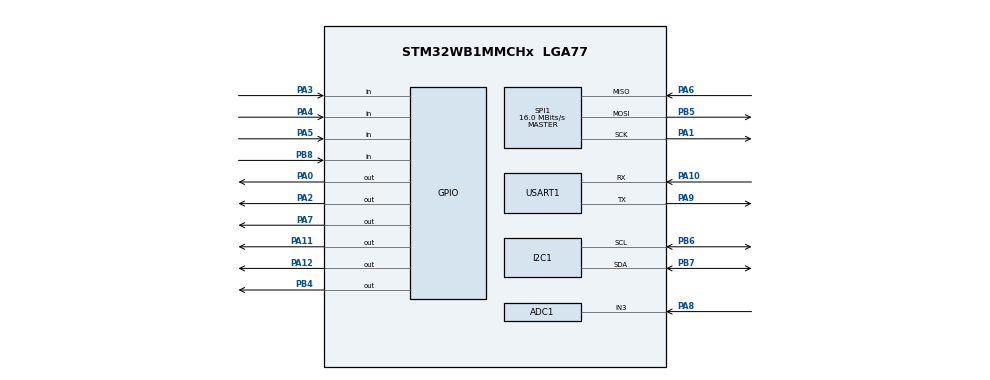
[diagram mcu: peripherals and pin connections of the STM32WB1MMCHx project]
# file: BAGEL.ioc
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ADC1.Channel-0\#ChannelRegularConversion=ADC_CHANNEL_3
ADC1.NbrOfConversionFlag=1
ADC1.Rank-0\#ChannelRegularConversion=1
ADC1.SamplingTime-0\#ChannelRegularConversion=ADC_SAMPLINGTIME_COMMON_1
ADC1.SamplingTimeCommon1=ADC_SAMPLETIME_12CYCLES_5
ADC1.SamplingTimeCommon2=ADC_SAMPLETIME_12CYCLES_5
ADC1.SelectedChannel=ADC_CHANNEL_3
ADC1.master=1
I2C1.Timing=0x00B07CB4
Mcu.Family=STM32WB
Mcu.Name=STM32WB1MMCHx
Mcu.Package=LGA77
NVIC.HSEM_IRQn=true\:0\:0\:false\:false\:true\:false\:true\:true
NVIC.IPCC_C1_RX_IRQn=true\:0\:0\:false\:false\:true\:true\:true\:true
NVIC.IPCC_C1_TX_IRQn=true\:0\:0\:false\:false\:true\:true\:true\:true
NVIC.PriorityGroup=NVIC_PRIORITYGROUP_4
NVIC.RTC_WKUP_IRQn=true\:0\:0\:false\:false\:true\:true\:true\:true
PA0.Signal=GPIO_Output
PA1.Mode=Full_Duplex_Master
PA1.Signal=SPI1_SCK
PA10.Mode=Asynchronous
PA10.Signal=USART1_RX
PA11.Signal=GPIO_Output
PA12.Signal=GPIO_Output
PA13.Mode=Serial_Wire
PA13.Signal=SYS_JTMS-SWDIO
PA14.Mode=Serial_Wire
PA14.Signal=SYS_JTCK-SWCLK
PA2.Signal=GPIO_Output
PA3.Signal=GPIO_Input
PA4.Signal=GPIO_Input
PA5.Signal=GPIO_Input
PA6.Mode=Full_Duplex_Master
PA6.Signal=SPI1_MISO
PA7.Signal=GPIO_Output
PA8.Signal=ADCx_IN3
PA9.Mode=Asynchronous
PA9.Signal=USART1_TX
PB4.Signal=GPIO_Output
PB5.Mode=Full_Duplex_Master
PB5.Signal=SPI1_MOSI
PB6.Mode=I2C
PB6.Signal=I2C1_SCL
PB7.Mode=I2C
PB7.Signal=I2C1_SDA
PB8.Signal=GPIO_Input
ProjectManager.HeapSize=0x200
ProjectManager.StackSize=0x400
ProjectManager.TargetToolchain=CMake
RCC.AHBFreq_Value=32000000
RCC.APB1Freq_Value=32000000
RCC.APB1TimFreq_Value=32000000
RCC.APB2Freq_Value=32000000
RCC.APB2TimFreq_Value=32000000
RCC.APB3Freq_Value=16000000
RCC.CortexFreq_Value=32000000
RCC.HCLKFreq_Value=32000000
RCC.HSE_VALUE=32000000
RCC.HSI_VALUE=16000000
RCC.MSIClockRange=RCC_MSIRANGE_10
RCC.SYSCLKFreq_VALUE=32000000
RCC.VCOOutputFreq_Value=256000000
SH.ADCx_IN3.0=ADC1_IN3,IN3-Single-Ended
SPI1.CalculateBaudRate=16.0 MBits/s
SPI1.Direction=SPI_DIRECTION_2LINES
SPI1.Mode=SPI_MODE_MASTER
SPI1.VirtualType=VM_MASTER
STM32_WPAN.AD_TYPE_COMPLETE_LOCAL_NAME=BAGEL
STM32_WPAN.AD_TYPE_COMPLETE_LOCAL_NAME_LENGTH=6
STM32_WPAN.CFG_BLE_OPTIONS_GATT_CACHING=SHCI_C2_BLE_INIT_OPTIONS_GATT_CACHING_USED
STM32_WPAN.CFG_LSCLK_LSE=0
STM32_WPAN.CUSTOM_P2P_SERVER=Disabled
STM32_WPAN.CUSTOM_TEMPLATE=Enabled
STM32_WPAN.GAP_PERIPHERAL_ROLE=1
STM32_WPAN.INCLUDE_AD_TYPE_COMPLETE_LOCAL_NAME=1
STM32_WPAN.NUMBER_OF_SERVICES=2
STM32_WPAN.PAIRING_PARAMETERS=OFF
STM32_WPAN.SERVICE1_CHAR1_GATT_NOTIFY_READ_REQ_AND_WAIT_FOR_APPL_RESP=\ 
STM32_WPAN.SERVICE1_CHAR1_GATT_NOTIFY_WRITE_REQ_AND_WAIT_FOR_APPL_RESP=\ 
STM32_WPAN.SERVICE1_CHAR1_LONG_NAME=SWITCH_4
STM32_WPAN.SERVICE1_CHAR1_PROP_NOTIFY=CHAR_PROP_NOTIFY
STM32_WPAN.SERVICE1_CHAR1_PROP_READ=CHAR_PROP_READ
STM32_WPAN.SERVICE1_CHAR1_PROP_WRITE=CHAR_PROP_WRITE
STM32_WPAN.SERVICE1_CHAR1_SHORT_NAME=SWITCH_4
STM32_WPAN.SERVICE1_CHAR1_UUID=98 71 87 AB D9 37 FE 72 83 74 02 09 27 16 78 27
STM32_WPAN.SERVICE1_CHAR1_UUID_128_INPUT_TYPE=1
STM32_WPAN.SERVICE1_CHAR2_GATT_NOTIFY_READ_REQ_AND_WAIT_FOR_APPL_RESP=\ 
STM32_WPAN.SERVICE1_CHAR2_GATT_NOTIFY_WRITE_REQ_AND_WAIT_FOR_APPL_RESP=\ 
STM32_WPAN.SERVICE1_CHAR2_LONG_NAME=SWITCH_5
STM32_WPAN.SERVICE1_CHAR2_PROP_NOTIFY=CHAR_PROP_NOTIFY
STM32_WPAN.SERVICE1_CHAR2_PROP_READ=CHAR_PROP_READ
STM32_WPAN.SERVICE1_CHAR2_PROP_WRITE=CHAR_PROP_WRITE
STM32_WPAN.SERVICE1_CHAR2_SHORT_NAME=SWITCH_5
STM32_WPAN.SERVICE1_CHAR2_UUID=67 37 44 98 92 48 92 49 82 49 83 48 93 48 3B CD
STM32_WPAN.SERVICE1_CHAR2_UUID_128_INPUT_TYPE=1
STM32_WPAN.SERVICE1_CHAR3_GATT_NOTIFY_READ_REQ_AND_WAIT_FOR_APPL_RESP=\ 
STM32_WPAN.SERVICE1_CHAR3_GATT_NOTIFY_WRITE_REQ_AND_WAIT_FOR_APPL_RESP=\ 
STM32_WPAN.SERVICE1_CHAR3_LONG_NAME=SWITCH_6
STM32_WPAN.SERVICE1_CHAR3_PROP_NOTIFY=CHAR_PROP_NOTIFY
STM32_WPAN.SERVICE1_CHAR3_PROP_READ=CHAR_PROP_READ
STM32_WPAN.SERVICE1_CHAR3_PROP_WRITE=CHAR_PROP_WRITE
STM32_WPAN.SERVICE1_CHAR3_SHORT_NAME=SWITCH_6
STM32_WPAN.SERVICE1_CHAR3_UUID=97 19 81 88 92 89 2B CD 98 F9 8E 98 98 E7 12 31
STM32_WPAN.SERVICE1_CHAR3_UUID_128_INPUT_TYPE=1
STM32_WPAN.SERVICE1_LONG_NAME=BAGEL_2
STM32_WPAN.SERVICE1_NUMBER_OF_CHARACTERISTICS=3
STM32_WPAN.SERVICE1_SHORT_NAME=BAGEL_2
STM32_WPAN.SERVICE1_UUID=73 73 73 73 73 71 91 92 10 95 09 12 89 27 26 6B
STM32_WPAN.SERVICE1_UUID_128_INPUT_TYPE=1
STM32_WPAN.SERVICE2_CHAR1_GATT_NOTIFY_READ_REQ_AND_WAIT_FOR_APPL_RESP=\ 
STM32_WPAN.SERVICE2_CHAR1_GATT_NOTIFY_WRITE_REQ_AND_WAIT_FOR_APPL_RESP=\ 
STM32_WPAN.SERVICE2_CHAR1_LENGTH_CHARACTERISTIC=CHAR_VALUE_LEN_CONSTANT
STM32_WPAN.SERVICE2_CHAR1_LONG_NAME=Switch_1
STM32_WPAN.SERVICE2_CHAR1_PROP_NOTIFY=CHAR_PROP_NOTIFY
STM32_WPAN.SERVICE2_CHAR1_PROP_READ=CHAR_PROP_READ
STM32_WPAN.SERVICE2_CHAR1_PROP_WRITE=CHAR_PROP_WRITE
STM32_WPAN.SERVICE2_CHAR1_SHORT_NAME=Switch_1
STM32_WPAN.SERVICE2_CHAR1_UUID=1A B8 34 56 76 53 73 84 27 37 48 48 38 48 38 48
STM32_WPAN.SERVICE2_CHAR1_UUID_128_INPUT_TYPE=1
STM32_WPAN.SERVICE2_CHAR2_GATT_NOTIFY_READ_REQ_AND_WAIT_FOR_APPL_RESP=\ 
STM32_WPAN.SERVICE2_CHAR2_GATT_NOTIFY_WRITE_REQ_AND_WAIT_FOR_APPL_RESP=\ 
STM32_WPAN.SERVICE2_CHAR2_LONG_NAME=Switch_2
STM32_WPAN.SERVICE2_CHAR2_PROP_NOTIFY=CHAR_PROP_NOTIFY
STM32_WPAN.SERVICE2_CHAR2_PROP_READ=CHAR_PROP_READ
STM32_WPAN.SERVICE2_CHAR2_PROP_WRITE=CHAR_PROP_WRITE
STM32_WPAN.SERVICE2_CHAR2_SHORT_NAME=Switch_2
STM32_WPAN.SERVICE2_CHAR2_UUID=63 77 77 AB C7 38 7D E7 28 98 27 37 38 83 88 38
STM32_WPAN.SERVICE2_CHAR2_UUID_128_INPUT_TYPE=1
STM32_WPAN.SERVICE2_CHAR3_GATT_NOTIFY_READ_REQ_AND_WAIT_FOR_APPL_RESP=\ 
STM32_WPAN.SERVICE2_CHAR3_GATT_NOTIFY_WRITE_REQ_AND_WAIT_FOR_APPL_RESP=\ 
STM32_WPAN.SERVICE2_CHAR3_LONG_NAME=Switch_3
STM32_WPAN.SERVICE2_CHAR3_PROP_NOTIFY=CHAR_PROP_NOTIFY
STM32_WPAN.SERVICE2_CHAR3_PROP_READ=CHAR_PROP_READ
STM32_WPAN.SERVICE2_CHAR3_PROP_WRITE=CHAR_PROP_WRITE
STM32_WPAN.SERVICE2_CHAR3_SHORT_NAME=Switch_3
STM32_WPAN.SERVICE2_CHAR3_UUID=72 67 18 34 82 82 03 08 23 83 83 8B CD E2 90 92
STM32_WPAN.SERVICE2_CHAR3_UUID_128_INPUT_TYPE=1
STM32_WPAN.SERVICE2_CHAR4_GATT_NOTIFY_READ_REQ_AND_WAIT_FOR_APPL_RESP=\ 
STM32_WPAN.SERVICE2_CHAR4_GATT_NOTIFY_WRITE_REQ_AND_WAIT_FOR_APPL_RESP=\ 
STM32_WPAN.SERVICE2_CHAR4_LONG_NAME=BATTERY_VOLTAGE
STM32_WPAN.SERVICE2_CHAR4_PROP_NOTIFY=CHAR_PROP_NOTIFY
STM32_WPAN.SERVICE2_CHAR4_PROP_READ=CHAR_PROP_READ
STM32_WPAN.SERVICE2_CHAR4_SHORT_NAME=BATTERY_VOLTAGE
STM32_WPAN.SERVICE2_CHAR4_UUID=10 20 92 09 12 49 81 24 71 27 91 29 81 29 81 29
STM32_WPAN.SERVICE2_CHAR4_UUID_128_INPUT_TYPE=1
STM32_WPAN.SERVICE2_LONG_NAME=BAGEL_1
STM32_WPAN.SERVICE2_NUMBER_OF_CHARACTERISTICS=4
STM32_WPAN.SERVICE2_SHORT_NAME=BAGEL_1
STM32_WPAN.SERVICE2_UUID=72 73 78 10 82 72 98 12 98 98 98 BC DE F9 81 98
STM32_WPAN.SERVICE2_UUID_128_INPUT_TYPE=1
STM32_WPAN.SERVICE3_CHAR1_GATT_NOTIFY_READ_REQ_AND_WAIT_FOR_APPL_RESP=\ 
STM32_WPAN.SERVICE3_CHAR1_GATT_NOTIFY_WRITE_REQ_AND_WAIT_FOR_APPL_RESP=\ 
STM32_WPAN.SERVICE3_CHAR1_LONG_NAME=SWITCH_4
STM32_WPAN.SERVICE3_CHAR1_PROP_NOTIFY=CHAR_PROP_NOTIFY
STM32_WPAN.SERVICE3_CHAR1_PROP_READ=CHAR_PROP_READ
STM32_WPAN.SERVICE3_CHAR1_PROP_WRITE=CHAR_PROP_WRITE
STM32_WPAN.SERVICE3_CHAR1_SHORT_NAME=SWITCH_4
STM32_WPAN.SERVICE3_CHAR1_UUID=64 18 92 98 78 46 54 7F ED 91 98 28 7B CD AB 48
STM32_WPAN.SERVICE3_CHAR1_UUID_128_INPUT_TYPE=1
STM32_WPAN.SERVICE3_CHAR2_GATT_NOTIFY_READ_REQ_AND_WAIT_FOR_APPL_RESP=\ 
STM32_WPAN.SERVICE3_CHAR2_GATT_NOTIFY_WRITE_REQ_AND_WAIT_FOR_APPL_RESP=\ 
STM32_WPAN.SERVICE3_CHAR2_LONG_NAME=SWITCH_5
STM32_WPAN.SERVICE3_CHAR2_PROP_NOTIFY=CHAR_PROP_NOTIFY
STM32_WPAN.SERVICE3_CHAR2_PROP_READ=CHAR_PROP_READ
STM32_WPAN.SERVICE3_CHAR2_PROP_WRITE=CHAR_PROP_WRITE
STM32_WPAN.SERVICE3_CHAR2_SHORT_NAME=SWITCH_5
STM32_WPAN.SERVICE3_CHAR2_UUID=98 34 98 98 98 98 BC EF 98 E9 8D 98 F9 87 82 12
STM32_WPAN.SERVICE3_CHAR2_UUID_128_INPUT_TYPE=1
STM32_WPAN.SERVICE3_CHAR3_GATT_NOTIFY_READ_REQ_AND_WAIT_FOR_APPL_RESP=\ 
STM32_WPAN.SERVICE3_CHAR3_GATT_NOTIFY_WRITE_REQ_AND_WAIT_FOR_APPL_RESP=\ 
STM32_WPAN.SERVICE3_CHAR3_LONG_NAME=SWITCH_6
STM32_WPAN.SERVICE3_CHAR3_PROP_NOTIFY=CHAR_PROP_NOTIFY
STM32_WPAN.SERVICE3_CHAR3_PROP_READ=CHAR_PROP_READ
STM32_WPAN.SERVICE3_CHAR3_PROP_WRITE=CHAR_PROP_WRITE
STM32_WPAN.SERVICE3_CHAR3_SHORT_NAME=SWITCH_6
STM32_WPAN.SERVICE3_CHAR3_UUID=73 77 97 8B CE 8F 98 D9 8A 98 B9 82 97 83 89 29
STM32_WPAN.SERVICE3_CHAR3_UUID_128_INPUT_TYPE=1
STM32_WPAN.SERVICE3_LONG_NAME=BAGEL_2
STM32_WPAN.SERVICE3_NUMBER_OF_CHARACTERISTICS=3
STM32_WPAN.SERVICE3_SHORT_NAME=BAGEL_2
STM32_WPAN.SERVICE3_UUID=12 34 56 78 73 23 48 29 44 28 92 24 89 24 78 24
USART1.VirtualMode-Asynchronous=VM_ASYNC
VP_HSEM_VS_HSEM.Mode=HSEM_Activate
VP_IPCC_VS_IPCC.Mode=IPCC_Activate
VP_MEMORYMAP_VS_MEMORYMAP.Mode=CurAppReg
VP_RCC_V_OSC32_IN.Mode=LSE-External-Clock-Source
VP_RCC_V_OSC_IN.Mode=HSE-External-Clock-Source
VP_RF_VS_RF.Mode=RF_Activate
VP_RTC_VS_RTC_Activate.Mode=RTC_Enabled
VP_RTC_VS_RTC_WakeUp_intern.Mode=WakeUp
VP_SEQUENCER_VS_SEQUENCER.Mode=SEQUENCER_Enabled
VP_STM32_WPAN_VS_BLE_HOST.Mode=STM32_WPAN_Enabled
VP_TINY_LPM_VS_TINY_LPM.Mode=TINY_LPM_Enabled
board=custom

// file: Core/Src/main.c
//No longer functional Main, go to Main.ccp for the functional main code.

/* USER CODE BEGIN Header */
/**
  ******************************************************************************
  * @file           : main.c
  * @brief          : Main program body
  ******************************************************************************
  * @attention
  *
  * Copyright (c) 2026 STMicroelectronics.
  * All rights reserved.
  *
  * This software is licensed under terms that can be found in the LICENSE file
  * in the root directory of this software component.
  * If no LICENSE file comes with this software, it is provided AS-IS.
  *
  ******************************************************************************
  */
/* USER CODE END Header */
#include "main.h"

/* USER CODE BEGIN Includes */
// #include <stdio.h>
// #include "../../Middlewares/ST/STM32_WPAN/ble/core/auto/ble_types.h"
// #include "../../Drivers/TCAL9538/TCAL9538.hpp"
// #include "../../Drivers/Interface/interface.h"
// #include "../../STM32_WPAN/App/custom_stm.h"
// #include "../../STM32_WPAN/App/custom_app.h"
// #include "inttypes.h"
/* USER CODE END Includes */

ADC_HandleTypeDef hadc1;

I2C_HandleTypeDef hi2c1;

IPCC_HandleTypeDef hipcc;

RTC_HandleTypeDef hrtc;

SPI_HandleTypeDef hspi1;

UART_HandleTypeDef huart1;

/* USER CODE BEGIN PV */
UART_HandleTypeDef * my_huart;
/* USER CODE END PV */

void SystemClock_Config(void);
void PeriphCommonClock_Config(void);
static void MX_GPIO_Init(void);
static void MX_I2C1_Init(void);
static void MX_SPI1_Init(void);
static void MX_USART1_UART_Init(void);
static void MX_IPCC_Init(void);
static void MX_RTC_Init(void);
static void MX_ADC1_Init(void);
static void MX_RF_Init(void);
/* USER CODE BEGIN PFP */

uint8_t init_gpio_inputs() {
	for (int i=0; i<GPIO_INPUT_END; i++) {
		struct gpio_pin pin = gpio_input_pins[i];
		if (!pin.expander || pin.expander == 3) {
//			gpioPinMode()
			continue;
		}
		gpioPinMode(GpioAddress(pin.expander - 1, pin.pin), INPUT);
	}
	return 0;
}

uint8_t init_gpio_outputs() {
	for (int i=0; i<GPIO_OUTPUT_END; i++) {
		struct gpio_pin pin = gpio_output_pins[i];
		if (!pin.expander || pin.expander == 3) {
//			gpioPinMode()
			continue;
		}
		gpioPinMode(GpioAddress(pin.expander - 1, pin.pin), OUTPUT);
	}
	return 0;
}

uint8_t read_gpio_input(int gpio_input) {
	struct gpio_pin pin = gpio_input_pins[gpio_input];
	GPIO_PinState val;
	if (!pin.expander || pin.expander == 3) {
		val = HAL_GPIO_ReadPin((!pin.expander) ? GPIOA : GPIOB, pin.pin);
		return (uint8_t)(val == GPIO_PIN_SET);
	 }
	uint8_t otherVal;
	otherVal = (uint8_t)gpioDigitalRead(GpioAddress(pin.expander - 1, pin.pin)).value;
//	uint8_t buffer[30];
//	int len = sprintf((char*)buffer, "%d.%d: %d\r\n", (int)pin.expander, (int)pin.pin, (int)otherVal);
//	HAL_UART_Transmit(&huart1, buffer, len, 1000);
	return otherVal;
}

uint8_t write_gpio_output(int gpio_output, int value) {
	GPIO_PinState real_val = (value == 1) ? GPIO_PIN_SET : GPIO_PIN_RESET;
	struct gpio_pin pin = gpio_output_pins[gpio_output];
	if (!pin.expander) {
		HAL_GPIO_WritePin(GPIOA, pin.pin, real_val);
		return 0;
	}
	gpioDigitalWrite(GpioAddress(pin.expander - 1, pin.pin), real_val);
	return 0;
}

uint8_t init_gpio_output_from_flipflops() {
	uint8_t switch_1_status_q = read_gpio_input(SWITCH_1_Q) << 1; // reads Q_not
	uint8_t switch_2_status_q = read_gpio_input(SWITCH_2_Q) << 1;
	uint8_t switch_3_status_q = read_gpio_input(SWITCH_3_Q) << 1;
	uint8_t switch_4_status_q = read_gpio_input(SWITCH_4_Q) << 1;
	uint8_t switch_5_status_q = read_gpio_input(SWITCH_5_Q) << 1;
	uint8_t switch_6_status_q = read_gpio_input(SWITCH_6_Q) << 1;

	uint8_t switch_1_status_pg = read_gpio_input(SWITCH_1_PG); // reads PG
	uint8_t switch_2_status_pg = read_gpio_input(SWITCH_2_PG);
	uint8_t switch_3_status_pg = read_gpio_input(SWITCH_3_PG);
	uint8_t switch_4_status_pg = read_gpio_input(SWITCH_4_PG);
	uint8_t switch_5_status_pg = read_gpio_input(SWITCH_5_PG);
	uint8_t switch_6_status_pg = read_gpio_input(SWITCH_6_PG);

	uint8_t switch_1_status = switch_1_status_q + switch_1_status_pg;
	uint8_t switch_2_status = switch_2_status_q + switch_2_status_pg;
	uint8_t switch_3_status = switch_3_status_q + switch_3_status_pg;
	uint8_t switch_4_status = switch_4_status_q + switch_4_status_pg;
	uint8_t switch_5_status = switch_5_status_q + switch_5_status_pg;
	uint8_t switch_6_status = switch_6_status_q + switch_6_status_pg;

	// actually write the status to the gpio pins
	write_gpio_output(SWITCH_1,  (switch_1_status == 1));
	write_gpio_output(SWITCH_2,  (switch_2_status == 1));
	write_gpio_output(SWITCH_3,  (switch_3_status == 1));
	write_gpio_output(SWITCH_4,  (switch_4_status == 1));
	write_gpio_output(SWITCH_5,  (switch_5_status == 1));
	write_gpio_output(SWITCH_6,  (switch_6_status == 1));

	// update the status array
	update_gpio_output(SWITCH_1, (switch_1_status == 1));
	update_gpio_output(SWITCH_2, (switch_2_status == 1));
	update_gpio_output(SWITCH_3, (switch_3_status == 1));
	update_gpio_output(SWITCH_4, (switch_4_status == 1));
	update_gpio_output(SWITCH_5, (switch_5_status == 1));
	update_gpio_output(SWITCH_6, (switch_6_status == 1));
	return 0;
}

uint8_t update_ble_values() {
	uint8_t switch_1_status_q = read_gpio_input(SWITCH_1_Q) << 1; // reads Q_not
	uint8_t switch_2_status_q = read_gpio_input(SWITCH_2_Q) << 1;
	uint8_t switch_3_status_q = read_gpio_input(SWITCH_3_Q) << 1;
	uint8_t switch_4_status_q = read_gpio_input(SWITCH_4_Q) << 1;
	uint8_t switch_5_status_q = read_gpio_input(SWITCH_5_Q) << 1;
	uint8_t switch_6_status_q = read_gpio_input(SWITCH_6_Q) << 1;

	uint8_t switch_1_status_pg = read_gpio_input(SWITCH_1_PG); // reads PG
	uint8_t switch_2_status_pg = read_gpio_input(SWITCH_2_PG);
	uint8_t switch_3_status_pg = read_gpio_input(SWITCH_3_PG);
	uint8_t switch_4_status_pg = read_gpio_input(SWITCH_4_PG);
	uint8_t switch_5_status_pg = read_gpio_input(SWITCH_5_PG);
	uint8_t switch_6_status_pg = read_gpio_input(SWITCH_6_PG);
	char disconnected = 'D';
	char impossible   = 'I';
	char nominal      = 'N';
	char off          = 'O';
	// the DINO protocol

	uint8_t switch_1_status = switch_1_status_q + switch_1_status_pg;
	uint8_t switch_2_status = switch_2_status_q + switch_2_status_pg;
	uint8_t switch_3_status = switch_3_status_q + switch_3_status_pg;
	uint8_t switch_4_status = switch_4_status_q + switch_4_status_pg;
	uint8_t switch_5_status = switch_5_status_q + switch_5_status_pg;
	uint8_t switch_6_status = switch_6_status_q + switch_6_status_pg;
	switch (switch_1_status) {
	case 0:
		Custom_STM_App_Update_Char(CUSTOM_STM_SWITCH_1, (uint8_t *)&disconnected);
		break;
	case 1:
		Custom_STM_App_Update_Char(CUSTOM_STM_SWITCH_1, (uint8_t *)&nominal);
		break;
	case 2:
		Custom_STM_App_Update_Char(CUSTOM_STM_SWITCH_1, (uint8_t *)&off);
		break;
	case 3:
		Custom_STM_App_Update_Char(CUSTOM_STM_SWITCH_1, (uint8_t *)&impossible);
		break;
	}

	switch (switch_2_status) {
		case 0:
			Custom_STM_App_Update_Char(CUSTOM_STM_SWITCH_2, (uint8_t *)&disconnected);
			break;
		case 1:
			Custom_STM_App_Update_Char(CUSTOM_STM_SWITCH_2, (uint8_t *)&nominal);
			break;
		case 2:
			Custom_STM_App_Update_Char(CUSTOM_STM_SWITCH_2, (uint8_t *)&off);
			break;
		case 3:
			Custom_STM_App_Update_Char(CUSTOM_STM_SWITCH_2, (uint8_t *)&impossible);
			break;
	}

	switch (switch_3_status) {
		case 0:
			Custom_STM_App_Update_Char(CUSTOM_STM_SWITCH_3, (uint8_t *)&disconnected);
			break;
		case 1:
			Custom_STM_App_Update_Char(CUSTOM_STM_SWITCH_3, (uint8_t *)&nominal);
			break;
		case 2:
			Custom_STM_App_Update_Char(CUSTOM_STM_SWITCH_3, (uint8_t *)&off);
			break;
		case 3:
			Custom_STM_App_Update_Char(CUSTOM_STM_SWITCH_3, (uint8_t *)&impossible);
			break;
	}

	switch (switch_4_status) {
		case 0:
			Custom_STM_App_Update_Char(CUSTOM_STM_SWITCH_4, (uint8_t *)&disconnected);
			break;
		case 1:
			Custom_STM_App_Update_Char(CUSTOM_STM_SWITCH_4, (uint8_t *)&nominal);
			break;
		case 2:
			Custom_STM_App_Update_Char(CUSTOM_STM_SWITCH_4, (uint8_t *)&off);
			break;
		case 3:
			Custom_STM_App_Update_Char(CUSTOM_STM_SWITCH_4, (uint8_t *)&impossible);
			break;
	}

	switch (switch_5_status) {
		case 0:
			Custom_STM_App_Update_Char(CUSTOM_STM_SWITCH_5, (uint8_t *)&disconnected);
			break;
		case 1:
			Custom_STM_App_Update_Char(CUSTOM_STM_SWITCH_5, (uint8_t *)&nominal);
			break;
		case 2:
			Custom_STM_App_Update_Char(CUSTOM_STM_SWITCH_5, (uint8_t *)&off);
			break;
		case 3:
			Custom_STM_App_Update_Char(CUSTOM_STM_SWITCH_5, (uint8_t *)&impossible);
			break;
	}

	switch (switch_6_status) {
		case 0:
			Custom_STM_App_Update_Char(CUSTOM_STM_SWITCH_6, (uint8_t *)&disconnected);
			break;
		case 1:
			Custom_STM_App_Update_Char(CUSTOM_STM_SWITCH_6, (uint8_t *)&nominal);
			break;
		case 2:
			Custom_STM_App_Update_Char(CUSTOM_STM_SWITCH_6, (uint8_t *)&off);
			break;
		case 3:
			Custom_STM_App_Update_Char(CUSTOM_STM_SWITCH_6, (uint8_t *)&impossible);
			break;
	}

	Custom_STM_App_Update_Char(CUSTOM_STM_BATTERY_VOLTAGE, (uint8_t*)&battery_voltage);

	return 0;
}

/* USER CODE END PFP */

int main(void)
{

  /* MCU Configuration--------------------------------------------------------*/

  /* Reset of all peripherals, Initializes the Flash interface and the Systick. */
  HAL_Init();
  /* Config code for STM32_WPAN (HSE Tuning must be done before system clock configuration) */
  MX_APPE_Config();

  /* Configure the system clock */
  SystemClock_Config();

  /* Configure the peripherals common clocks */
  PeriphCommonClock_Config();

  /* IPCC initialisation */
  MX_IPCC_Init();

  /* Initialize all configured peripherals */
  MX_GPIO_Init();
  MX_I2C1_Init();
  MX_SPI1_Init();
  MX_USART1_UART_Init();
  MX_RTC_Init();
  MX_ADC1_Init();
  MX_RF_Init();

  /* Init code for STM32_WPAN */
  MX_APPE_Init();

  /* Infinite loop */
  while (1)
  {
    MX_APPE_Process();

  }
}

void SystemClock_Config(void)
{
  RCC_OscInitTypeDef RCC_OscInitStruct = {0};
  RCC_ClkInitTypeDef RCC_ClkInitStruct = {0};

  /** Configure LSE Drive Capability
  */
  HAL_PWR_EnableBkUpAccess();
  __HAL_RCC_LSEDRIVE_CONFIG(RCC_LSEDRIVE_MEDIUMHIGH);

  /** Initializes the RCC Oscillators according to the specified parameters
  * in the RCC_OscInitTypeDef structure.
  */
  RCC_OscInitStruct.OscillatorType = RCC_OSCILLATORTYPE_HSI|RCC_OSCILLATORTYPE_LSI1
                              |RCC_OSCILLATORTYPE_HSE|RCC_OSCILLATORTYPE_LSE
                              |RCC_OSCILLATORTYPE_MSI;
  RCC_OscInitStruct.HSEState = RCC_HSE_ON;
  RCC_OscInitStruct.LSEState = RCC_LSE_ON;
  RCC_OscInitStruct.HSIState = RCC_HSI_ON;
  RCC_OscInitStruct.MSIState = RCC_MSI_ON;
  RCC_OscInitStruct.HSICalibrationValue = RCC_HSICALIBRATION_DEFAULT;
  RCC_OscInitStruct.MSICalibrationValue = RCC_MSICALIBRATION_DEFAULT;
  RCC_OscInitStruct.MSIClockRange = RCC_MSIRANGE_10;
  RCC_OscInitStruct.LSIState = RCC_LSI_ON;
  RCC_OscInitStruct.PLL.PLLState = RCC_PLL_NONE;
  if (HAL_RCC_OscConfig(&RCC_OscInitStruct) != HAL_OK)
  {
    Error_Handler();
  }

  /** Configure the SYSCLKSource, HCLK, PCLK1 and PCLK2 clocks dividers
  */
  RCC_ClkInitStruct.ClockType = RCC_CLOCKTYPE_HCLK4|RCC_CLOCKTYPE_HCLK2
                              |RCC_CLOCKTYPE_HCLK|RCC_CLOCKTYPE_SYSCLK
                              |RCC_CLOCKTYPE_PCLK1|RCC_CLOCKTYPE_PCLK2;
  RCC_ClkInitStruct.SYSCLKSource = RCC_SYSCLKSOURCE_MSI;
  RCC_ClkInitStruct.AHBCLKDivider = RCC_SYSCLK_DIV1;
  RCC_ClkInitStruct.APB1CLKDivider = RCC_HCLK_DIV1;
  RCC_ClkInitStruct.APB2CLKDivider = RCC_HCLK_DIV1;
  RCC_ClkInitStruct.AHBCLK2Divider = RCC_SYSCLK_DIV1;
  RCC_ClkInitStruct.AHBCLK4Divider = RCC_SYSCLK_DIV1;

  if (HAL_RCC_ClockConfig(&RCC_ClkInitStruct, FLASH_LATENCY_1) != HAL_OK)
  {
    Error_Handler();
  }

  /** Enable MSI Auto calibration
  */
  HAL_RCCEx_EnableMSIPLLMode();
}

void PeriphCommonClock_Config(void)
{
  RCC_PeriphCLKInitTypeDef PeriphClkInitStruct = {0};

  /** Initializes the peripherals clock
  */
  PeriphClkInitStruct.PeriphClockSelection = RCC_PERIPHCLK_SMPS|RCC_PERIPHCLK_RFWAKEUP;
  PeriphClkInitStruct.RFWakeUpClockSelection = RCC_RFWKPCLKSOURCE_LSE;
  PeriphClkInitStruct.SmpsClockSelection = RCC_SMPSCLKSOURCE_HSI;
  PeriphClkInitStruct.SmpsDivSelection = RCC_SMPSCLKDIV_RANGE1;

  if (HAL_RCCEx_PeriphCLKConfig(&PeriphClkInitStruct) != HAL_OK)
  {
    Error_Handler();
  }
}

static void MX_ADC1_Init(void)
{

  ADC_ChannelConfTypeDef sConfig = {0};

  /** Common config
  */
  hadc1.Instance = ADC1;
  hadc1.Init.ClockPrescaler = ADC_CLOCK_ASYNC_DIV1;
  hadc1.Init.Resolution = ADC_RESOLUTION_12B;
  hadc1.Init.DataAlign = ADC_DATAALIGN_RIGHT;
  hadc1.Init.ScanConvMode = ADC_SCAN_DISABLE;
  hadc1.Init.EOCSelection = ADC_EOC_SINGLE_CONV;
  hadc1.Init.SamplingTimeCommon1 = ADC_SAMPLETIME_12CYCLES_5;
  hadc1.Init.SamplingTimeCommon2 = ADC_SAMPLETIME_12CYCLES_5;
  hadc1.Init.LowPowerAutoWait = DISABLE;
  hadc1.Init.ContinuousConvMode = DISABLE;
  hadc1.Init.NbrOfConversion = 1;
  hadc1.Init.DiscontinuousConvMode = DISABLE;
  hadc1.Init.ExternalTrigConv = ADC_SOFTWARE_START;
  hadc1.Init.ExternalTrigConvEdge = ADC_EXTERNALTRIGCONVEDGE_NONE;
  hadc1.Init.DMAContinuousRequests = DISABLE;
  hadc1.Init.Overrun = ADC_OVR_DATA_PRESERVED;
  if (HAL_ADC_Init(&hadc1) != HAL_OK)
  {
    Error_Handler();
  }

  /** Configure Regular Channel
  */
  sConfig.Channel = ADC_CHANNEL_3;
  sConfig.Rank = ADC_REGULAR_RANK_1;
  sConfig.SamplingTime = ADC_SAMPLINGTIME_COMMON_1;
  if (HAL_ADC_ConfigChannel(&hadc1, &sConfig) != HAL_OK)
  {
    Error_Handler();
  }

}

static void MX_I2C1_Init(void)
{

  hi2c1.Instance = I2C1;
  hi2c1.Init.Timing = 0x00B07CB4;
  hi2c1.Init.OwnAddress1 = 0;
  hi2c1.Init.AddressingMode = I2C_ADDRESSINGMODE_7BIT;
  hi2c1.Init.DualAddressMode = I2C_DUALADDRESS_DISABLE;
  hi2c1.Init.OwnAddress2 = 0;
  hi2c1.Init.OwnAddress2Masks = I2C_OA2_NOMASK;
  hi2c1.Init.GeneralCallMode = I2C_GENERALCALL_DISABLE;
  hi2c1.Init.NoStretchMode = I2C_NOSTRETCH_DISABLE;
  if (HAL_I2C_Init(&hi2c1) != HAL_OK)
  {
    Error_Handler();
  }

  /** Configure Analogue filter
  */
  if (HAL_I2CEx_ConfigAnalogFilter(&hi2c1, I2C_ANALOGFILTER_ENABLE) != HAL_OK)
  {
    Error_Handler();
  }

  /** Configure Digital filter
  */
  if (HAL_I2CEx_ConfigDigitalFilter(&hi2c1, 0) != HAL_OK)
  {
    Error_Handler();
  }

}

static void MX_IPCC_Init(void)
{

  hipcc.Instance = IPCC;
  if (HAL_IPCC_Init(&hipcc) != HAL_OK)
  {
    Error_Handler();
  }

}

static void MX_RF_Init(void)
{

}

static void MX_RTC_Init(void)
{

  /** Initialize RTC Only
  */
  hrtc.Instance = RTC;
  hrtc.Init.HourFormat = RTC_HOURFORMAT_24;
  hrtc.Init.AsynchPrediv = CFG_RTC_ASYNCH_PRESCALER;
  hrtc.Init.SynchPrediv = CFG_RTC_SYNCH_PRESCALER;
  hrtc.Init.OutPut = RTC_OUTPUT_DISABLE;
  hrtc.Init.OutPutPolarity = RTC_OUTPUT_POLARITY_HIGH;
  hrtc.Init.OutPutRemap = RTC_OUTPUT_REMAP_NONE;
  if (HAL_RTC_Init(&hrtc) != HAL_OK)
  {
    Error_Handler();
  }

  /** Enable the WakeUp
  */
  if (HAL_RTCEx_SetWakeUpTimer_IT(&hrtc, 0, RTC_WAKEUPCLOCK_RTCCLK_DIV16) != HAL_OK)
  {
    Error_Handler();
  }

}

static void MX_SPI1_Init(void)
{

  /* SPI1 parameter configuration*/
  hspi1.Instance = SPI1;
  hspi1.Init.Mode = SPI_MODE_MASTER;
  hspi1.Init.Direction = SPI_DIRECTION_2LINES;
  hspi1.Init.DataSize = SPI_DATASIZE_8BIT;
  hspi1.Init.CLKPolarity = SPI_POLARITY_LOW;
  hspi1.Init.CLKPhase = SPI_PHASE_1EDGE;
  hspi1.Init.NSS = SPI_NSS_SOFT;
  hspi1.Init.BaudRatePrescaler = SPI_BAUDRATEPRESCALER_2;
  hspi1.Init.FirstBit = SPI_FIRSTBIT_MSB;
  hspi1.Init.TIMode = SPI_TIMODE_DISABLE;
  hspi1.Init.CRCCalculation = SPI_CRCCALCULATION_DISABLE;
  hspi1.Init.CRCPolynomial = 7;
  hspi1.Init.CRCLength = SPI_CRC_LENGTH_DATASIZE;
  hspi1.Init.NSSPMode = SPI_NSS_PULSE_ENABLE;
  if (HAL_SPI_Init(&hspi1) != HAL_OK)
  {
    Error_Handler();
  }

}

static void MX_USART1_UART_Init(void)
{

  huart1.Instance = USART1;
  huart1.Init.BaudRate = 115200;
  huart1.Init.WordLength = UART_WORDLENGTH_8B;
  huart1.Init.StopBits = UART_STOPBITS_1;
  huart1.Init.Parity = UART_PARITY_NONE;
  huart1.Init.Mode = UART_MODE_TX_RX;
  huart1.Init.HwFlowCtl = UART_HWCONTROL_NONE;
  huart1.Init.OverSampling = UART_OVERSAMPLING_16;
  huart1.Init.OneBitSampling = UART_ONE_BIT_SAMPLE_DISABLE;
  huart1.Init.ClockPrescaler = UART_PRESCALER_DIV1;
  huart1.AdvancedInit.AdvFeatureInit = UART_ADVFEATURE_NO_INIT;
  if (HAL_UART_Init(&huart1) != HAL_OK)
  {
    Error_Handler();
  }
  if (HAL_UARTEx_SetTxFifoThreshold(&huart1, UART_TXFIFO_THRESHOLD_1_8) != HAL_OK)
  {
    Error_Handler();
  }
  if (HAL_UARTEx_SetRxFifoThreshold(&huart1, UART_RXFIFO_THRESHOLD_1_8) != HAL_OK)
  {
    Error_Handler();
  }
  if (HAL_UARTEx_DisableFifoMode(&huart1) != HAL_OK)
  {
    Error_Handler();
  }

}

static void MX_GPIO_Init(void)
{
  GPIO_InitTypeDef GPIO_InitStruct = {0};

  /* GPIO Ports Clock Enable */
  __HAL_RCC_GPIOA_CLK_ENABLE();
  __HAL_RCC_GPIOB_CLK_ENABLE();

  /*Configure GPIO pin Output Level */
  HAL_GPIO_WritePin(GPIOA, GPIO_PIN_2|GPIO_PIN_7|GPIO_PIN_12|GPIO_PIN_11
                          |GPIO_PIN_0, GPIO_PIN_RESET);

  /*Configure GPIO pin Output Level */
  HAL_GPIO_WritePin(GPIOB, GPIO_PIN_4, GPIO_PIN_RESET);

  /*Configure GPIO pins : PA4 PA3 PA5 */
  GPIO_InitStruct.Pin = GPIO_PIN_4|GPIO_PIN_3|GPIO_PIN_5;
  GPIO_InitStruct.Mode = GPIO_MODE_INPUT;
  GPIO_InitStruct.Pull = GPIO_NOPULL;
  HAL_GPIO_Init(GPIOA, &GPIO_InitStruct);

  /*Configure GPIO pins : PA2 PA7 PA12 PA11
                           PA0 */
  GPIO_InitStruct.Pin = GPIO_PIN_2|GPIO_PIN_7|GPIO_PIN_12|GPIO_PIN_11
                          |GPIO_PIN_0;
  GPIO_InitStruct.Mode = GPIO_MODE_OUTPUT_PP;
  GPIO_InitStruct.Pull = GPIO_NOPULL;
  GPIO_InitStruct.Speed = GPIO_SPEED_FREQ_LOW;
  HAL_GPIO_Init(GPIOA, &GPIO_InitStruct);

  /*Configure GPIO pin : PB8 */
  GPIO_InitStruct.Pin = GPIO_PIN_8;
  GPIO_InitStruct.Mode = GPIO_MODE_INPUT;
  GPIO_InitStruct.Pull = GPIO_NOPULL;
  HAL_GPIO_Init(GPIOB, &GPIO_InitStruct);

  /*Configure GPIO pin : PB4 */
  GPIO_InitStruct.Pin = GPIO_PIN_4;
  GPIO_InitStruct.Mode = GPIO_MODE_OUTPUT_PP;
  GPIO_InitStruct.Pull = GPIO_NOPULL;
  GPIO_InitStruct.Speed = GPIO_SPEED_FREQ_LOW;
  HAL_GPIO_Init(GPIOB, &GPIO_InitStruct);

}

void Error_Handler(void)
{
  __disable_irq();
  while (1)
  {
  }
}
